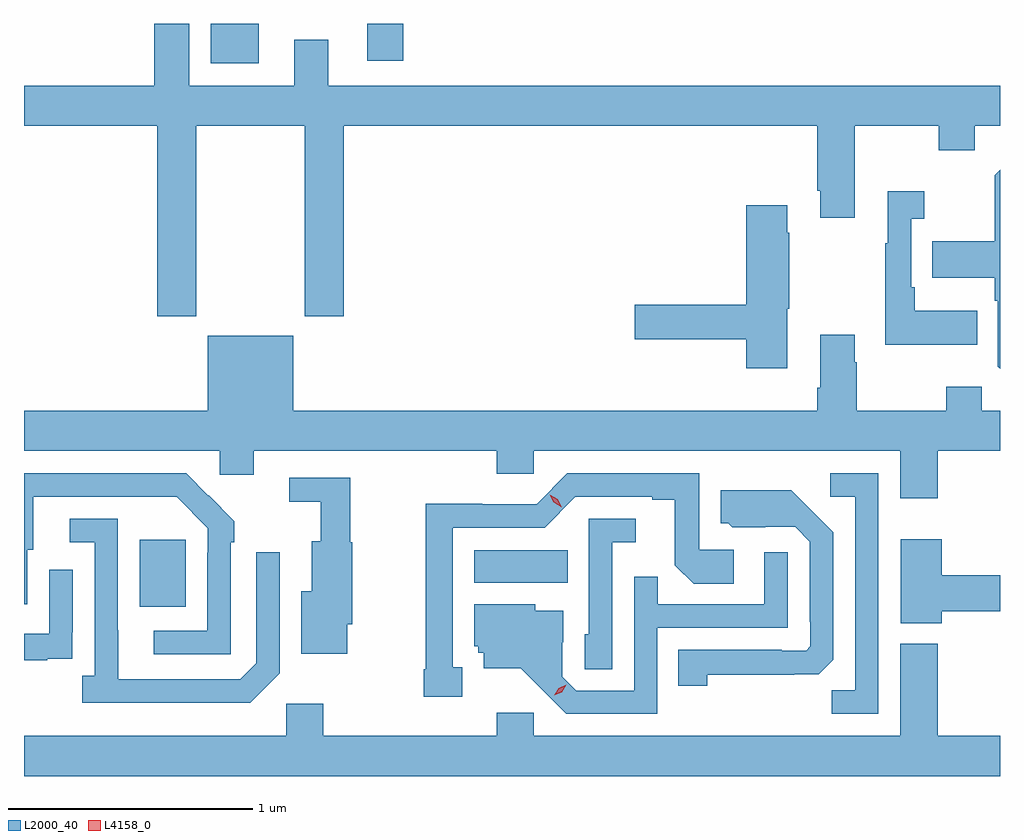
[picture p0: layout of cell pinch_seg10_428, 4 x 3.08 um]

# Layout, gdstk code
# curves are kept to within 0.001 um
import gdstk
lib = gdstk.Library(unit=1e-6, precision=1e-09)
def R(c, l, rs):  # rectangles x0, y0, x1, y1
    for r in rs: c.add(gdstk.rectangle(r[:2], r[2:], *l))
def P(c, l, *ps):  # polygons
    for p in ps: c.add(gdstk.Polygon(p, *l))
L2000_40 = (2000, 40)
L4158_0 = (4158, 0)

pinch_seg10_428 = lib.new_cell('pinch_seg10_428')
R(pinch_seg10_428, L2000_40, [(345.569,1306.337,345.757,1306.612), (346.94,1306.436,347.324,1306.57), (345.861,1308.566,346.057,1308.726), (346.502,1308.576,346.649,1308.726)])
P(pinch_seg10_428, L2000_40, [(345.801,1308.308),(346.246,1308.308),(346.246,1307.529),(346.406,1307.529),(346.406,1308.308),(348.347,1308.308),(348.347,1308.043),(348.359,1308.043),(348.359,1307.931),(348.499,1307.931),(348.499,1308.308),(348.844,1308.308),(348.844,1308.209),(348.991,1308.209),(348.991,1308.308),(349.095,1308.308),(349.095,1308.472),(346.342,1308.472),(346.342,1308.662),(346.202,1308.662),(346.202,1308.472),(345.772,1308.472),(345.772,1308.726),(345.629,1308.726),(345.629,1308.472),(345.095,1308.472),(345.095,1308.308),(345.641,1308.308),(345.641,1307.529),(345.801,1307.529)],
  [(349.095,1308.128),(349.074,1308.107),(349.074,1307.835),(348.817,1307.835),(348.817,1307.687),(349.074,1307.687),(349.074,1307.591),(349.086,1307.591),(349.086,1307.322),(349.095,1307.313)],
  [(349.001,1307.551),(348.745,1307.551),(348.745,1307.647),(348.732,1307.647),(348.732,1307.927),(348.784,1307.927),(348.784,1308.04),(348.635,1308.04),(348.635,1307.827),(348.624,1307.827),(348.624,1307.411),(349.001,1307.411)],
  [(348.223,1307.559),(348.231,1307.559),(348.231,1307.87),(348.223,1307.87),(348.223,1307.983),(348.056,1307.983),(348.056,1307.576),(347.598,1307.576),(347.598,1307.434),(348.056,1307.434),(348.056,1307.316),(348.223,1307.316)],
  [(348.874,1307.239),(348.874,1307.14),(348.507,1307.14),(348.507,1307.339),(348.499,1307.339),(348.499,1307.452),(348.359,1307.452),(348.359,1307.236),(348.347,1307.236),(348.347,1307.14),(346.198,1307.14),(346.198,1307.449),(345.848,1307.449),(345.848,1307.14),(345.095,1307.14),(345.095,1306.976),(345.897,1306.976),(345.897,1306.878),(346.036,1306.878),(346.036,1306.976),(347.033,1306.976),(347.033,1306.883),(347.184,1306.883),(347.184,1306.976),(348.686,1306.976),(348.686,1306.782),(348.839,1306.782),(348.839,1306.976),(349.095,1306.976),(349.095,1307.14),(349.02,1307.14),(349.02,1307.239)],
  [(348.597,1306.884),(348.399,1306.884),(348.399,1306.788),(348.501,1306.788),(348.501,1305.995),(348.406,1305.995),(348.406,1305.9),(348.597,1305.9)],
  [(345.942,1306.601),(345.957,1306.601),(345.957,1306.689),(345.76,1306.884),(345.095,1306.884),(345.095,1306.347),(345.109,1306.347),(345.109,1306.572),(345.133,1306.572),(345.133,1306.788),(345.721,1306.788),(345.849,1306.659),(345.849,1306.559),(345.846,1306.559),(345.846,1306.239),(345.627,1306.239),(345.627,1306.143),(345.942,1306.143)],
  [(346.891,1306.089),(346.852,1306.089),(346.852,1306.662),(347.229,1306.662),(347.355,1306.788),(347.669,1306.788),(347.669,1306.776),(347.763,1306.776),(347.763,1306.508),(347.839,1306.432),(348.004,1306.432),(348.004,1306.572),(347.862,1306.572),(347.862,1306.884),(347.322,1306.884),(347.196,1306.758),(346.974,1306.758),(346.974,1306.76),(346.741,1306.76),(346.741,1306.081),(346.734,1306.081),(346.734,1305.969),(346.891,1305.969)],
  [(346.42,1306.266),(346.44,1306.266),(346.44,1306.602),(346.432,1306.602),(346.432,1306.866),(346.182,1306.866),(346.182,1306.769),(346.311,1306.769),(346.311,1306.606),(346.274,1306.606),(346.274,1306.402),(346.232,1306.402),(346.232,1306.145),(346.42,1306.145)],
  [(347.895,1306.06),(348.352,1306.061),(348.411,1306.12),(348.411,1306.642),(348.239,1306.816),(347.951,1306.816),(347.951,1306.68),(347.982,1306.68),(347.998,1306.664),(348.255,1306.665),(348.315,1306.605),(348.315,1306.276),(348.318,1306.276),(348.318,1306.176),(348.3,1306.158),(348.2,1306.158),(348.2,1306.161),(347.776,1306.161),(347.776,1306.014),(347.895,1306.014)],
  [(347.505,1306.601),(347.602,1306.601),(347.602,1306.698),(347.409,1306.698),(347.409,1306.224),(347.394,1306.224),(347.394,1306.081),(347.505,1306.081)],
  [(346.143,1306.065),(346.143,1306.561),(346.047,1306.561),(346.047,1306.107),(345.981,1306.041),(345.481,1306.041),(345.48,1306.698),(345.282,1306.698),(345.282,1306.602),(345.384,1306.602),(345.384,1306.054),(345.333,1306.054),(345.333,1305.944),(346.022,1305.944)],
  [(348.856,1306.319),(349.095,1306.319),(349.095,1306.466),(348.856,1306.466),(348.856,1306.615),(348.689,1306.615),(348.689,1306.271),(348.856,1306.271)],
  [(347.691,1306.251),(348.225,1306.251),(348.225,1306.561),(348.129,1306.561),(348.129,1306.347),(347.693,1306.347),(347.693,1306.46),(347.595,1306.46),(347.595,1305.993),(347.358,1305.993),(347.301,1306.05),(347.301,1306.192),(347.305,1306.192),(347.305,1306.321),(347.19,1306.321),(347.19,1306.348),(346.94,1306.348),(346.94,1306.176),(346.956,1306.176),(346.956,1306.149),(346.979,1306.149),(346.979,1306.085),(347.131,1306.085),(347.318,1305.9),(347.691,1305.9)],
  [(345.191,1306.125),(345.293,1306.125),(345.293,1306.234),(345.294,1306.234),(345.294,1306.489),(345.198,1306.489),(345.198,1306.227),(345.095,1306.227),(345.095,1306.119),(345.191,1306.119)],
  [(349.095,1305.808),(348.839,1305.808),(348.839,1306.186),(348.686,1306.186),(348.686,1305.808),(347.184,1305.808),(347.184,1305.904),(347.033,1305.904),(347.033,1305.808),(346.322,1305.808),(346.322,1305.94),(346.17,1305.94),(346.17,1305.808),(345.095,1305.808),(345.095,1305.644),(349.095,1305.644)])
P(pinch_seg10_428, L4158_0, [(347.268,1305.974),(347.268,1305.974),(347.286,1306.003),(347.317,1306.017),(347.317,1306.017),(347.317,1306.017),(347.299,1305.988),(347.268,1305.974)],
  [(347.299,1306.746),(347.267,1306.765),(347.25,1306.797),(347.25,1306.797),(347.25,1306.797),(347.282,1306.778),(347.299,1306.746),(347.299,1306.746)])

lib.write_gds('pinch_seg10_428.gds')
